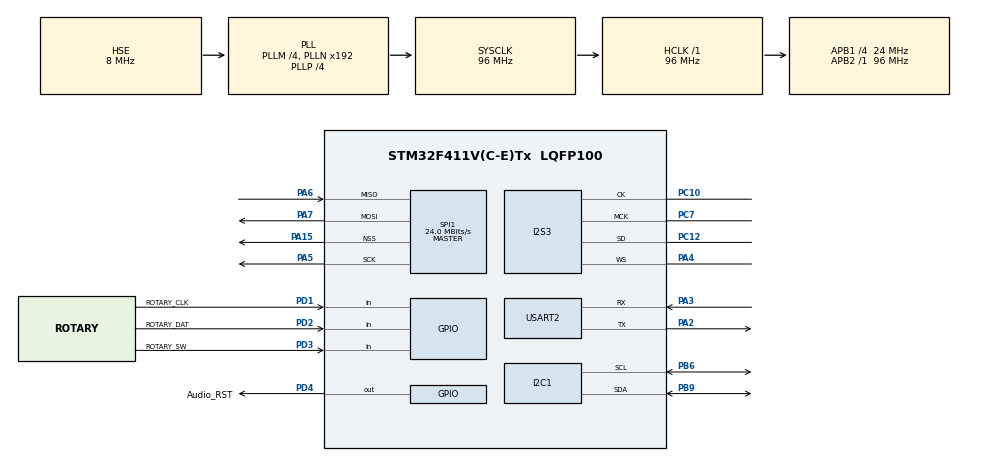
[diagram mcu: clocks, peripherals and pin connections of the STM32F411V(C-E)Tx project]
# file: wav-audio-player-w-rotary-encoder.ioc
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Dma.Request0=SPI3_TX
Dma.Request1=SPI1_TX
Dma.Request2=SPI1_RX
Dma.SPI1_RX.2.Direction=DMA_PERIPH_TO_MEMORY
Dma.SPI1_RX.2.FIFOMode=DMA_FIFOMODE_DISABLE
Dma.SPI1_RX.2.Instance=DMA2_Stream0
Dma.SPI1_RX.2.MemDataAlignment=DMA_MDATAALIGN_BYTE
Dma.SPI1_RX.2.MemInc=DMA_MINC_ENABLE
Dma.SPI1_RX.2.Mode=DMA_NORMAL
Dma.SPI1_RX.2.PeriphDataAlignment=DMA_PDATAALIGN_BYTE
Dma.SPI1_RX.2.PeriphInc=DMA_PINC_DISABLE
Dma.SPI1_RX.2.Priority=DMA_PRIORITY_HIGH
Dma.SPI1_TX.1.Direction=DMA_MEMORY_TO_PERIPH
Dma.SPI1_TX.1.FIFOMode=DMA_FIFOMODE_DISABLE
Dma.SPI1_TX.1.Instance=DMA2_Stream2
Dma.SPI1_TX.1.MemDataAlignment=DMA_MDATAALIGN_BYTE
Dma.SPI1_TX.1.MemInc=DMA_MINC_ENABLE
Dma.SPI1_TX.1.Mode=DMA_NORMAL
Dma.SPI1_TX.1.PeriphDataAlignment=DMA_PDATAALIGN_BYTE
Dma.SPI1_TX.1.PeriphInc=DMA_PINC_DISABLE
Dma.SPI1_TX.1.Priority=DMA_PRIORITY_HIGH
Dma.SPI3_TX.0.Direction=DMA_MEMORY_TO_PERIPH
Dma.SPI3_TX.0.FIFOMode=DMA_FIFOMODE_DISABLE
Dma.SPI3_TX.0.Instance=DMA1_Stream5
Dma.SPI3_TX.0.MemDataAlignment=DMA_MDATAALIGN_HALFWORD
Dma.SPI3_TX.0.MemInc=DMA_MINC_ENABLE
Dma.SPI3_TX.0.Mode=DMA_CIRCULAR
Dma.SPI3_TX.0.PeriphDataAlignment=DMA_PDATAALIGN_HALFWORD
Dma.SPI3_TX.0.PeriphInc=DMA_PINC_DISABLE
Dma.SPI3_TX.0.Priority=DMA_PRIORITY_MEDIUM
I2S3.AudioFreq=I2S_AUDIOFREQ_44K
I2S3.ErrorAudioFreq=1.45 %
I2S3.FullDuplexMode=I2S_FULLDUPLEXMODE_DISABLE
I2S3.Instance=SPI$Index
I2S3.RealAudioFreq=44.642 KHz
I2S3.VirtualMode=I2S_MODE_MASTER
Mcu.Family=STM32F4
Mcu.Name=STM32F411V(C-E)Tx
Mcu.Package=LQFP100
NVIC.DMA1_Stream5_IRQn=true\:0\:0\:false\:false\:true\:false\:true
NVIC.DMA2_Stream0_IRQn=true\:0\:0\:false\:false\:true\:false\:true
NVIC.DMA2_Stream2_IRQn=true\:0\:0\:false\:false\:true\:false\:true
NVIC.PriorityGroup=NVIC_PRIORITYGROUP_0
NVIC.SPI3_IRQn=true\:0\:0\:false\:false\:true\:true\:true
NVIC.USART2_IRQn=true\:0\:0\:false\:false\:true\:true\:true
PA13.Mode=Serial_Wire
PA13.Signal=SYS_JTMS-SWDIO
PA14.Mode=Serial_Wire
PA14.Signal=SYS_JTCK-SWCLK
PA15.Mode=NSS_Signal_Hard_Output
PA15.Signal=SPI1_NSS
PA2.Mode=Asynchronous
PA2.Signal=USART2_TX
PA3.Mode=Asynchronous
PA3.Signal=USART2_RX
PA4.Mode=Half_Duplex_Master
PA4.Signal=I2S3_WS
PA5.Mode=Full_Duplex_Master
PA5.Signal=SPI1_SCK
PA6.Mode=Full_Duplex_Master
PA6.Signal=SPI1_MISO
PA7.Mode=Full_Duplex_Master
PA7.Signal=SPI1_MOSI
PB6.Mode=I2C
PB6.Signal=I2C1_SCL
PB9.Mode=I2C
PB9.Signal=I2C1_SDA
PC10.Mode=Half_Duplex_Master
PC10.Signal=I2S3_CK
PC12.Mode=Half_Duplex_Master
PC12.Signal=I2S3_SD
PC7.Mode=Master_Clock_Activated
PC7.Signal=I2S3_MCK
PD1.GPIO_Label=ROTARY_CLK
PD1.Signal=GPIO_Input
PD2.GPIO_Label=ROTARY_DAT
PD2.Signal=GPIO_Input
PD3.GPIO_Label=ROTARY_SW
PD3.Signal=GPIO_Input
PD4.GPIO_Label=Audio_RST
PD4.GPIO_Speed=GPIO_SPEED_FREQ_LOW
PD4.PinState=GPIO_PIN_RESET
PD4.Signal=GPIO_Output
PH0\ -\ OSC_IN.Mode=HSE-External-Oscillator
PH0\ -\ OSC_IN.Signal=RCC_OSC_IN
PH1\ -\ OSC_OUT.Mode=HSE-External-Oscillator
PH1\ -\ OSC_OUT.Signal=RCC_OSC_OUT
ProjectManager.HeapSize=0x200
ProjectManager.StackSize=0x400
ProjectManager.TargetToolchain=TrueSTUDIO
RCC.48MHZClocksFreq_Value=48000000
RCC.AHBFreq_Value=96000000
RCC.APB1CLKDivider=RCC_HCLK_DIV4
RCC.APB1Freq_Value=24000000
RCC.APB1TimFreq_Value=48000000
RCC.APB2Freq_Value=96000000
RCC.APB2TimFreq_Value=96000000
RCC.CortexFreq_Value=96000000
RCC.HCLKFreq_Value=96000000
RCC.HSE_VALUE=8000000
RCC.HSI_VALUE=16000000
RCC.LSE_VALUE=32768
RCC.PLLI2SM=5
RCC.PLLI2SN=200
RCC.PLLM=4
RCC.PLLP=RCC_PLLP_DIV4
RCC.PLLQ=8
RCC.PLLSourceVirtual=RCC_PLLSOURCE_HSE
RCC.SYSCLKFreq_VALUE=96000000
RCC.SYSCLKSource=RCC_SYSCLKSOURCE_PLLCLK
RCC.VCOOutputFreq_Value=384000000
SPI1.BaudRatePrescaler=SPI_BAUDRATEPRESCALER_4
SPI1.CalculateBaudRate=24.0 MBits/s
SPI1.Direction=SPI_DIRECTION_2LINES
SPI1.Mode=SPI_MODE_MASTER
SPI1.VirtualNSS=VM_NSSHARD
SPI1.VirtualType=VM_MASTER
USART2.VirtualMode=VM_ASYNC
VP_FATFS_VS_Generic.Mode=User_defined
board=STM32F411E-DISCO

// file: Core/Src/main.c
/* USER CODE BEGIN Header */
/**
  ******************************************************************************
  * @file           : main.c
  * @brief          : Main program body
  ******************************************************************************
  * @attention
  *
  * <h2><center>&copy; Copyright (c) 2021 STMicroelectronics.
  * All rights reserved.</center></h2>
  *
  * This software component is licensed by ST under BSD 3-Clause license,
  * the "License"; You may not use this file except in compliance with the
  * License. You may obtain a copy of the License at:
  *                        opensource.org/licenses/BSD-3-Clause
  *
  ******************************************************************************
  */
/* USER CODE END Header */
#include "main.h"
#include "fatfs.h"

/* USER CODE BEGIN Includes */
#include "audio_playback.h"
#include "wav_player.h"
#include "serial.h"
#include "rotary_encoder.h"
/* USER CODE END Includes */

/* USER CODE BEGIN PM */
#define LOG(val) serial_print(console, val)
#define LOGLN(val) serial_println(console, val)
/* USER CODE END PM */

I2C_HandleTypeDef hi2c1;

I2S_HandleTypeDef hi2s3;
DMA_HandleTypeDef hdma_spi3_tx;

/* USER CODE BEGIN PV */
serial_t *console;
/* USER CODE END PV */

void SystemClock_Config(void);
static void MX_GPIO_Init(void);
static void MX_DMA_Init(void);
static void MX_USART2_UART_Init(void);
static void MX_SPI1_Init(void);
static void MX_I2S3_Init(void);
static void MX_I2C1_Init(void);
/* USER CODE BEGIN PFP */
extern void on_encoder_switch(uint8_t dir);
extern void on_encoder_rotate(uint8_t dir, int16_t pos);
extern void console_monitor(void);
/* USER CODE END PFP */

int main(void)
{

  /* MCU Configuration--------------------------------------------------------*/

  /* Reset of all peripherals, Initializes the Flash interface and the Systick. */
  HAL_Init();

  /* Configure the system clock */
  SystemClock_Config();

  /* Initialize all configured peripherals */
  MX_GPIO_Init();
  MX_DMA_Init();
  MX_USART2_UART_Init();
  MX_SPI1_Init();
  MX_FATFS_Init();
  MX_I2S3_Init();
  MX_I2C1_Init();
  /* USER CODE BEGIN 2 */
  console = serial_init(USART2);

  LOGLN("------ Tests on STM32 F4 discovery board ------");

  init_sd_card_spi(SPI1);
  FRESULT fr = f_mount(&USERFatFS, "", 1);
  if (fr == FR_OK) {
    LOGLN("Filesystem mounted!");
  }
  else {
    LOGLN("Failed to mount filesystem.");
  }

  if (init_wav_player(&hi2c1) != 0) {
    LOGLN("Failed to initialize player ...");
  }

  playback_init(&hi2s3);
  encoder_set_switch_callback(on_encoder_switch);
  encoder_set_rotation_callback(on_encoder_rotate);
  /* USER CODE END 2 */

  /* Infinite loop */
  /* USER CODE BEGIN WHILE */
  while (1)
  {
	  console_monitor();
	  encoder_monitor();
    /* USER CODE END WHILE */

  }
}

void SystemClock_Config(void)
{
  RCC_OscInitTypeDef RCC_OscInitStruct = {0};
  RCC_ClkInitTypeDef RCC_ClkInitStruct = {0};
  RCC_PeriphCLKInitTypeDef PeriphClkInitStruct = {0};

  /** Configure the main internal regulator output voltage
  */
  __HAL_RCC_PWR_CLK_ENABLE();
  __HAL_PWR_VOLTAGESCALING_CONFIG(PWR_REGULATOR_VOLTAGE_SCALE1);
  /** Initializes the RCC Oscillators according to the specified parameters
  * in the RCC_OscInitTypeDef structure.
  */
  RCC_OscInitStruct.OscillatorType = RCC_OSCILLATORTYPE_HSE;
  RCC_OscInitStruct.HSEState = RCC_HSE_ON;
  RCC_OscInitStruct.PLL.PLLState = RCC_PLL_ON;
  RCC_OscInitStruct.PLL.PLLSource = RCC_PLLSOURCE_HSE;
  RCC_OscInitStruct.PLL.PLLM = 4;
  RCC_OscInitStruct.PLL.PLLN = 192;
  RCC_OscInitStruct.PLL.PLLP = RCC_PLLP_DIV4;
  RCC_OscInitStruct.PLL.PLLQ = 8;
  if (HAL_RCC_OscConfig(&RCC_OscInitStruct) != HAL_OK)
  {
    Error_Handler();
  }
  /** Initializes the CPU, AHB and APB buses clocks
  */
  RCC_ClkInitStruct.ClockType = RCC_CLOCKTYPE_HCLK|RCC_CLOCKTYPE_SYSCLK
                              |RCC_CLOCKTYPE_PCLK1|RCC_CLOCKTYPE_PCLK2;
  RCC_ClkInitStruct.SYSCLKSource = RCC_SYSCLKSOURCE_PLLCLK;
  RCC_ClkInitStruct.AHBCLKDivider = RCC_SYSCLK_DIV1;
  RCC_ClkInitStruct.APB1CLKDivider = RCC_HCLK_DIV4;
  RCC_ClkInitStruct.APB2CLKDivider = RCC_HCLK_DIV1;

  if (HAL_RCC_ClockConfig(&RCC_ClkInitStruct, FLASH_LATENCY_3) != HAL_OK)
  {
    Error_Handler();
  }
  PeriphClkInitStruct.PeriphClockSelection = RCC_PERIPHCLK_I2S;
  PeriphClkInitStruct.PLLI2S.PLLI2SN = 200;
  PeriphClkInitStruct.PLLI2S.PLLI2SM = 5;
  PeriphClkInitStruct.PLLI2S.PLLI2SR = 2;
  if (HAL_RCCEx_PeriphCLKConfig(&PeriphClkInitStruct) != HAL_OK)
  {
    Error_Handler();
  }
}

static void MX_I2C1_Init(void)
{

  hi2c1.Instance = I2C1;
  hi2c1.Init.ClockSpeed = 100000;
  hi2c1.Init.DutyCycle = I2C_DUTYCYCLE_2;
  hi2c1.Init.OwnAddress1 = 0;
  hi2c1.Init.AddressingMode = I2C_ADDRESSINGMODE_7BIT;
  hi2c1.Init.DualAddressMode = I2C_DUALADDRESS_DISABLE;
  hi2c1.Init.OwnAddress2 = 0;
  hi2c1.Init.GeneralCallMode = I2C_GENERALCALL_DISABLE;
  hi2c1.Init.NoStretchMode = I2C_NOSTRETCH_DISABLE;
  if (HAL_I2C_Init(&hi2c1) != HAL_OK)
  {
    Error_Handler();
  }

}

static void MX_I2S3_Init(void)
{

  hi2s3.Instance = SPI3;
  hi2s3.Init.Mode = I2S_MODE_MASTER_TX;
  hi2s3.Init.Standard = I2S_STANDARD_PHILIPS;
  hi2s3.Init.DataFormat = I2S_DATAFORMAT_16B;
  hi2s3.Init.MCLKOutput = I2S_MCLKOUTPUT_ENABLE;
  hi2s3.Init.AudioFreq = I2S_AUDIOFREQ_44K;
  hi2s3.Init.CPOL = I2S_CPOL_LOW;
  hi2s3.Init.ClockSource = I2S_CLOCK_PLL;
  hi2s3.Init.FullDuplexMode = I2S_FULLDUPLEXMODE_DISABLE;
  if (HAL_I2S_Init(&hi2s3) != HAL_OK)
  {
    Error_Handler();
  }

}

static void MX_SPI1_Init(void)
{

  LL_SPI_InitTypeDef SPI_InitStruct = {0};

  LL_GPIO_InitTypeDef GPIO_InitStruct = {0};

  /* Peripheral clock enable */
  LL_APB2_GRP1_EnableClock(LL_APB2_GRP1_PERIPH_SPI1);

  LL_AHB1_GRP1_EnableClock(LL_AHB1_GRP1_PERIPH_GPIOA);
  /**SPI1 GPIO Configuration
  PA5   ------> SPI1_SCK
  PA6   ------> SPI1_MISO
  PA7   ------> SPI1_MOSI
  PA15   ------> SPI1_NSS
  */
  GPIO_InitStruct.Pin = LL_GPIO_PIN_5|LL_GPIO_PIN_6|LL_GPIO_PIN_7|LL_GPIO_PIN_15;
  GPIO_InitStruct.Mode = LL_GPIO_MODE_ALTERNATE;
  GPIO_InitStruct.Speed = LL_GPIO_SPEED_FREQ_VERY_HIGH;
  GPIO_InitStruct.OutputType = LL_GPIO_OUTPUT_PUSHPULL;
  GPIO_InitStruct.Pull = LL_GPIO_PULL_NO;
  GPIO_InitStruct.Alternate = LL_GPIO_AF_5;
  LL_GPIO_Init(GPIOA, &GPIO_InitStruct);

  /* SPI1 DMA Init */

  /* SPI1_TX Init */
  LL_DMA_SetChannelSelection(DMA2, LL_DMA_STREAM_2, LL_DMA_CHANNEL_2);

  LL_DMA_SetDataTransferDirection(DMA2, LL_DMA_STREAM_2, LL_DMA_DIRECTION_MEMORY_TO_PERIPH);

  LL_DMA_SetStreamPriorityLevel(DMA2, LL_DMA_STREAM_2, LL_DMA_PRIORITY_HIGH);

  LL_DMA_SetMode(DMA2, LL_DMA_STREAM_2, LL_DMA_MODE_NORMAL);

  LL_DMA_SetPeriphIncMode(DMA2, LL_DMA_STREAM_2, LL_DMA_PERIPH_NOINCREMENT);

  LL_DMA_SetMemoryIncMode(DMA2, LL_DMA_STREAM_2, LL_DMA_MEMORY_INCREMENT);

  LL_DMA_SetPeriphSize(DMA2, LL_DMA_STREAM_2, LL_DMA_PDATAALIGN_BYTE);

  LL_DMA_SetMemorySize(DMA2, LL_DMA_STREAM_2, LL_DMA_MDATAALIGN_BYTE);

  LL_DMA_DisableFifoMode(DMA2, LL_DMA_STREAM_2);

  /* SPI1_RX Init */
  LL_DMA_SetChannelSelection(DMA2, LL_DMA_STREAM_0, LL_DMA_CHANNEL_3);

  LL_DMA_SetDataTransferDirection(DMA2, LL_DMA_STREAM_0, LL_DMA_DIRECTION_PERIPH_TO_MEMORY);

  LL_DMA_SetStreamPriorityLevel(DMA2, LL_DMA_STREAM_0, LL_DMA_PRIORITY_HIGH);

  LL_DMA_SetMode(DMA2, LL_DMA_STREAM_0, LL_DMA_MODE_NORMAL);

  LL_DMA_SetPeriphIncMode(DMA2, LL_DMA_STREAM_0, LL_DMA_PERIPH_NOINCREMENT);

  LL_DMA_SetMemoryIncMode(DMA2, LL_DMA_STREAM_0, LL_DMA_MEMORY_INCREMENT);

  LL_DMA_SetPeriphSize(DMA2, LL_DMA_STREAM_0, LL_DMA_PDATAALIGN_BYTE);

  LL_DMA_SetMemorySize(DMA2, LL_DMA_STREAM_0, LL_DMA_MDATAALIGN_BYTE);

  LL_DMA_DisableFifoMode(DMA2, LL_DMA_STREAM_0);

  /* SPI1 parameter configuration*/
  SPI_InitStruct.TransferDirection = LL_SPI_FULL_DUPLEX;
  SPI_InitStruct.Mode = LL_SPI_MODE_MASTER;
  SPI_InitStruct.DataWidth = LL_SPI_DATAWIDTH_8BIT;
  SPI_InitStruct.ClockPolarity = LL_SPI_POLARITY_LOW;
  SPI_InitStruct.ClockPhase = LL_SPI_PHASE_1EDGE;
  SPI_InitStruct.NSS = LL_SPI_NSS_HARD_OUTPUT;
  SPI_InitStruct.BaudRate = LL_SPI_BAUDRATEPRESCALER_DIV4;
  SPI_InitStruct.BitOrder = LL_SPI_MSB_FIRST;
  SPI_InitStruct.CRCCalculation = LL_SPI_CRCCALCULATION_DISABLE;
  SPI_InitStruct.CRCPoly = 10;
  LL_SPI_Init(SPI1, &SPI_InitStruct);
  LL_SPI_SetStandard(SPI1, LL_SPI_PROTOCOL_MOTOROLA);

}

static void MX_USART2_UART_Init(void)
{

  LL_USART_InitTypeDef USART_InitStruct = {0};

  LL_GPIO_InitTypeDef GPIO_InitStruct = {0};

  /* Peripheral clock enable */
  LL_APB1_GRP1_EnableClock(LL_APB1_GRP1_PERIPH_USART2);

  LL_AHB1_GRP1_EnableClock(LL_AHB1_GRP1_PERIPH_GPIOA);
  /**USART2 GPIO Configuration
  PA2   ------> USART2_TX
  PA3   ------> USART2_RX
  */
  GPIO_InitStruct.Pin = LL_GPIO_PIN_2|LL_GPIO_PIN_3;
  GPIO_InitStruct.Mode = LL_GPIO_MODE_ALTERNATE;
  GPIO_InitStruct.Speed = LL_GPIO_SPEED_FREQ_VERY_HIGH;
  GPIO_InitStruct.OutputType = LL_GPIO_OUTPUT_PUSHPULL;
  GPIO_InitStruct.Pull = LL_GPIO_PULL_NO;
  GPIO_InitStruct.Alternate = LL_GPIO_AF_7;
  LL_GPIO_Init(GPIOA, &GPIO_InitStruct);

  /* USART2 interrupt Init */
  NVIC_SetPriority(USART2_IRQn, NVIC_EncodePriority(NVIC_GetPriorityGrouping(),0, 0));
  NVIC_EnableIRQ(USART2_IRQn);

  USART_InitStruct.BaudRate = 115200;
  USART_InitStruct.DataWidth = LL_USART_DATAWIDTH_8B;
  USART_InitStruct.StopBits = LL_USART_STOPBITS_1;
  USART_InitStruct.Parity = LL_USART_PARITY_NONE;
  USART_InitStruct.TransferDirection = LL_USART_DIRECTION_TX_RX;
  USART_InitStruct.HardwareFlowControl = LL_USART_HWCONTROL_NONE;
  USART_InitStruct.OverSampling = LL_USART_OVERSAMPLING_16;
  LL_USART_Init(USART2, &USART_InitStruct);
  LL_USART_ConfigAsyncMode(USART2);
  LL_USART_Enable(USART2);

}

static void MX_DMA_Init(void)
{

  /* Init with LL driver */
  /* DMA controller clock enable */
  LL_AHB1_GRP1_EnableClock(LL_AHB1_GRP1_PERIPH_DMA1);
  LL_AHB1_GRP1_EnableClock(LL_AHB1_GRP1_PERIPH_DMA2);

  /* DMA interrupt init */
  /* DMA1_Stream5_IRQn interrupt configuration */
  HAL_NVIC_SetPriority(DMA1_Stream5_IRQn, 0, 0);
  HAL_NVIC_EnableIRQ(DMA1_Stream5_IRQn);
  /* DMA2_Stream0_IRQn interrupt configuration */
  NVIC_SetPriority(DMA2_Stream0_IRQn, NVIC_EncodePriority(NVIC_GetPriorityGrouping(),0, 0));
  NVIC_EnableIRQ(DMA2_Stream0_IRQn);
  /* DMA2_Stream2_IRQn interrupt configuration */
  NVIC_SetPriority(DMA2_Stream2_IRQn, NVIC_EncodePriority(NVIC_GetPriorityGrouping(),0, 0));
  NVIC_EnableIRQ(DMA2_Stream2_IRQn);

}

static void MX_GPIO_Init(void)
{
  LL_GPIO_InitTypeDef GPIO_InitStruct = {0};

  /* GPIO Ports Clock Enable */
  LL_AHB1_GRP1_EnableClock(LL_AHB1_GRP1_PERIPH_GPIOH);
  LL_AHB1_GRP1_EnableClock(LL_AHB1_GRP1_PERIPH_GPIOA);
  LL_AHB1_GRP1_EnableClock(LL_AHB1_GRP1_PERIPH_GPIOC);
  LL_AHB1_GRP1_EnableClock(LL_AHB1_GRP1_PERIPH_GPIOD);
  LL_AHB1_GRP1_EnableClock(LL_AHB1_GRP1_PERIPH_GPIOB);

  /**/
  LL_GPIO_ResetOutputPin(Audio_RST_GPIO_Port, Audio_RST_Pin);

  /**/
  GPIO_InitStruct.Pin = ROTARY_CLK_Pin|ROTARY_DAT_Pin|ROTARY_SW_Pin;
  GPIO_InitStruct.Mode = LL_GPIO_MODE_INPUT;
  GPIO_InitStruct.Pull = LL_GPIO_PULL_NO;
  LL_GPIO_Init(GPIOD, &GPIO_InitStruct);

  /**/
  GPIO_InitStruct.Pin = Audio_RST_Pin;
  GPIO_InitStruct.Mode = LL_GPIO_MODE_OUTPUT;
  GPIO_InitStruct.Speed = LL_GPIO_SPEED_FREQ_LOW;
  GPIO_InitStruct.OutputType = LL_GPIO_OUTPUT_PUSHPULL;
  GPIO_InitStruct.Pull = LL_GPIO_PULL_NO;
  LL_GPIO_Init(Audio_RST_GPIO_Port, &GPIO_InitStruct);

}

/* USER CODE BEGIN 4 */
void HAL_I2S_TxCpltCallback(I2S_HandleTypeDef * i2s) {
  playback_i2s_txfer_cplt_callback();
}

void HAL_I2S_TxHalfCpltCallback(I2S_HandleTypeDef *hi2s) {
  playback_i2s_txfer_half_cplt_callback();
}
/* USER CODE END 4 */

void Error_Handler(void)
{
  __disable_irq();
  while (1)
  {
  }
}

/************************ (C) COPYRIGHT STMicroelectronics *****END OF FILE****/
